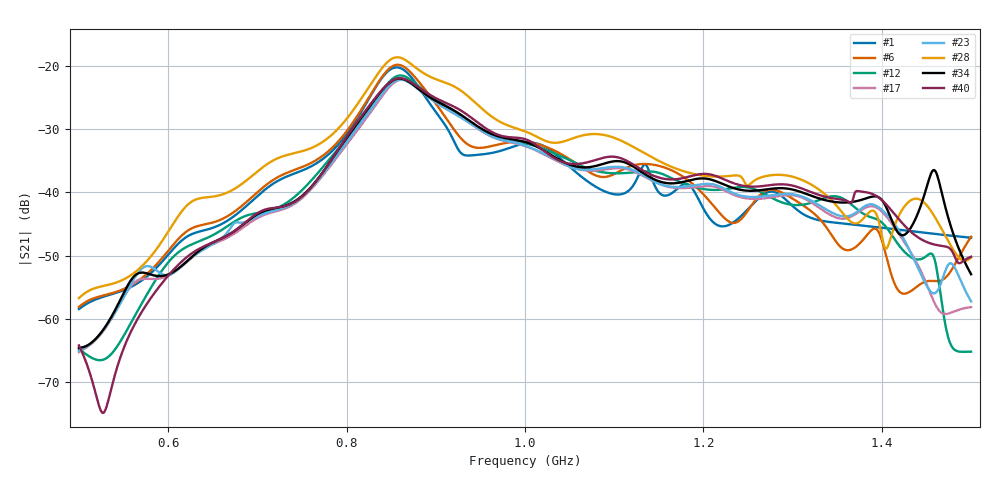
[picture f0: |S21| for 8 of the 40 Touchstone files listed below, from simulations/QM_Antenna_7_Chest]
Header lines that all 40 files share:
! TOUCHSTONE file generated by CST MICROWAVE STUDIO
! Header version: 2018
! Port assignment regex: !\s*Touchstone port\s*([0-9]+)\s*=\s*(CST MWS port|CST DS port)\s*([0-9]+|Zmin|Zmax)\s*\(\"(.*)\"\)(\s*mode\s*([0-9]+))?.*
! Touchstone port assignment:
! Touchstone port 1 = CST MWS port 1 ("")
! Touchstone port 2 = CST MWS port 2 ("")
# GHz S DB R 50
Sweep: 500 MHz to 1.5 GHz
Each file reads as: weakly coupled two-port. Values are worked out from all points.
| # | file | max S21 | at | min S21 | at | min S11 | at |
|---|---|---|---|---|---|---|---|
| 1 | 4_2.s2p | -20.25 dB | 856 MHz | -58.4 dB | 500 MHz | -31.0 dB | 1.298 GHz |
| 2 | 4_3.s2p | -20.03 dB | 860 MHz | -64.5 dB | 500 MHz | -26.2 dB | 1.241 GHz |
| 3 | 4_4.s2p | -21.52 dB | 861 MHz | -63.2 dB | 500 MHz | -37.9 dB | 765 MHz |
| 4 | 4_6.s2p | -22.67 dB | 862 MHz | -65.7 dB | 500 MHz | -35.7 dB | 1.218 GHz |
| 5 | 5_1.s2p | -26.08 dB | 845 MHz | -66.1 dB | 500 MHz | -22.2 dB | 1.375 GHz |
| 6 | 5_2.s2p | -19.82 dB | 857 MHz | -58.1 dB | 500 MHz | -28.2 dB | 1.3 GHz |
| 7 | 5_6.s2p | -22.55 dB | 861 MHz | -65.6 dB | 500 MHz | -36.8 dB | 1.218 GHz |
| 8 | 6_1.s2p | -26.19 dB | 845 MHz | -65.1 dB | 500 MHz | -27.7 dB | 1.377 GHz |
| 9 | 6_2.s2p | -19.51 dB | 857 MHz | -57.8 dB | 500 MHz | -26.8 dB | 1.3 GHz |
| 10 | 6_3.s2p | -19.57 dB | 859 MHz | -63.8 dB | 500 MHz | -23.9 dB | 1.241 GHz |
| 11 | 6_4.s2p | -20.97 dB | 860 MHz | -62.8 dB | 500 MHz | -37.0 dB | 1.303 GHz |
| 12 | 6_5.s2p | -21.52 dB | 860 MHz | -66.5 dB | 523 MHz | -32.9 dB | 777 MHz |
| 13 | 6_6.s2p | -22.37 dB | 861 MHz | -65.8 dB | 520 MHz | -39.3 dB | 710 MHz |
| 14 | 7_2.s2p | -19.24 dB | 855 MHz | -57.5 dB | 500 MHz | -25.9 dB | 1.301 GHz |
| 15 | 7_4.s2p | -20.84 dB | 860 MHz | -62.7 dB | 500 MHz | -42.4 dB | 1.304 GHz |
| 16 | 7_5.s2p | -21.26 dB | 861 MHz | -64.6 dB | 500 MHz | -36.5 dB | 778 MHz |
| 17 | 7_6.s2p | -22.21 dB | 862 MHz | -65.2 dB | 500 MHz | -42.6 dB | 711 MHz |
| 18 | 8_1.s2p | -26.52 dB | 842 MHz | -63.1 dB | 500 MHz | -38.0 dB | 1.379 GHz |
| 19 | 8_2.s2p | -19.06 dB | 857 MHz | -57.2 dB | 500 MHz | -25.2 dB | 1.301 GHz |
| 20 | 8_3.s2p | -19.19 dB | 858 MHz | -63.2 dB | 500 MHz | -22.2 dB | 1.243 GHz |
| 21 | 8_4.s2p | -20.58 dB | 859 MHz | -62.5 dB | 500 MHz | -67.1 dB | 1.305 GHz |
| 22 | 8_5.s2p | -21.19 dB | 860 MHz | -64.5 dB | 500 MHz | -48.3 dB | 778 MHz |
| 23 | 8_6.s2p | -22.17 dB | 860 MHz | -65.1 dB | 500 MHz | -45.3 dB | 1.218 GHz |
| 24 | 9_1.s2p | -26.55 dB | 841 MHz | -62.2 dB | 500 MHz | -31.0 dB | 1.38 GHz |
| 25 | 9_2.s2p | -18.96 dB | 857 MHz | -57.2 dB | 513 MHz | -24.8 dB | 1.301 GHz |
| 26 | 9_3.s2p | -19.05 dB | 858 MHz | -62.9 dB | 500 MHz | -22.2 dB | 1.242 GHz |
| 27 | 9_4.s2p | -20.35 dB | 864 MHz | -62.4 dB | 500 MHz | -42.2 dB | 1.306 GHz |
| 28 | 10_2.s2p | -18.64 dB | 857 MHz | -56.7 dB | 500 MHz | -24.9 dB | 1.302 GHz |
| 29 | 10_3.s2p | -18.88 dB | 859 MHz | -65.0 dB | 1.447 GHz | -22.0 dB | 1.242 GHz |
| 30 | 10_4.s2p | -20.24 dB | 858 MHz | -62.1 dB | 500 MHz | -45.8 dB | 1.306 GHz |
| 31 | 11_2.s2p | -18.44 dB | 857 MHz | -56.5 dB | 500 MHz | -24.6 dB | 1.301 GHz |
| 32 | 11_4.s2p | -20.05 dB | 858 MHz | -62.0 dB | 500 MHz | -42.7 dB | 1.306 GHz |
| 33 | 11_5.s2p | -20.82 dB | 861 MHz | -64.1 dB | 500 MHz | -41.7 dB | 697 MHz |
| 34 | 11_6.s2p | -22.01 dB | 859 MHz | -64.5 dB | 500 MHz | -45.2 dB | 789 MHz |
| 35 | 12_1.s2p | -21.83 dB | 873 MHz | -59.9 dB | 500 MHz | -29.5 dB | 1.38 GHz |
| 36 | 12_2.s2p | -18.13 dB | 860 MHz | -56.3 dB | 500 MHz | -25.6 dB | 1.301 GHz |
| 37 | 12_3.s2p | -18.59 dB | 859 MHz | -63.8 dB | 1.444 GHz | -22.5 dB | 1.241 GHz |
| 38 | 13_2.s2p | -17.80 dB | 860 MHz | -56.1 dB | 500 MHz | -27.3 dB | 1.301 GHz |
| 39 | 13_3.s2p | -18.45 dB | 864 MHz | -62.0 dB | 500 MHz | -22.3 dB | 1.241 GHz |
| 40 | 13_6.s2p | -21.96 dB | 860 MHz | -74.9 dB | 527 MHz | -38.7 dB | 789 MHz |
